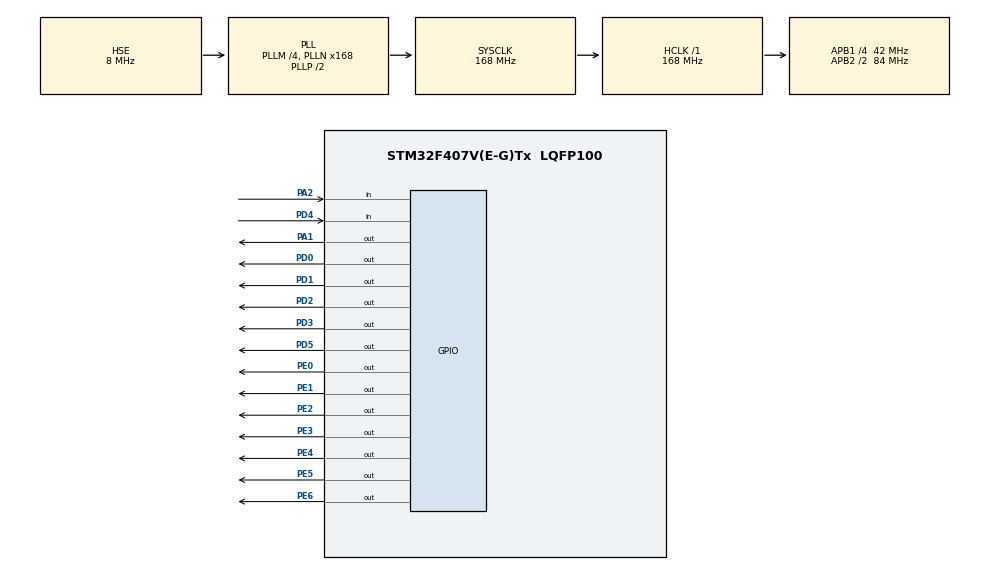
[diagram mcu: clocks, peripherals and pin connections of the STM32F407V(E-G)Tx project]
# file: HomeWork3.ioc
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Mcu.Family=STM32F4
Mcu.Name=STM32F407V(E-G)Tx
Mcu.Package=LQFP100
NVIC.PriorityGroup=NVIC_PRIORITYGROUP_0
PA1.GPIO_Speed=GPIO_SPEED_FREQ_VERY_HIGH
PA1.Signal=GPIO_Output
PA13.Mode=Serial_Wire
PA13.Signal=SYS_JTMS-SWDIO
PA14.Mode=Serial_Wire
PA14.Signal=SYS_JTCK-SWCLK
PA2.Signal=GPIO_Input
PD0.GPIO_Speed=GPIO_SPEED_FREQ_VERY_HIGH
PD0.Signal=GPIO_Output
PD1.GPIO_Speed=GPIO_SPEED_FREQ_VERY_HIGH
PD1.Signal=GPIO_Output
PD2.GPIO_Speed=GPIO_SPEED_FREQ_VERY_HIGH
PD2.Signal=GPIO_Output
PD3.GPIO_Speed=GPIO_SPEED_FREQ_VERY_HIGH
PD3.Signal=GPIO_Output
PD4.Signal=GPIO_Input
PD5.GPIO_Speed=GPIO_SPEED_FREQ_VERY_HIGH
PD5.Signal=GPIO_Output
PE0.Signal=GPIO_Output
PE1.Signal=GPIO_Output
PE2.Signal=GPIO_Output
PE3.Signal=GPIO_Output
PE4.Signal=GPIO_Output
PE5.Signal=GPIO_Output
PE6.Signal=GPIO_Output
PH0-OSC_IN.Mode=HSE-External-Oscillator
PH0-OSC_IN.Signal=RCC_OSC_IN
PH1-OSC_OUT.Mode=HSE-External-Oscillator
PH1-OSC_OUT.Signal=RCC_OSC_OUT
ProjectManager.HeapSize=0x200
ProjectManager.StackSize=0x400
ProjectManager.TargetToolchain=STM32CubeIDE
RCC.48MHZClocksFreq_Value=48000000
RCC.AHBFreq_Value=168000000
RCC.APB1CLKDivider=RCC_HCLK_DIV4
RCC.APB1Freq_Value=42000000
RCC.APB1TimFreq_Value=84000000
RCC.APB2CLKDivider=RCC_HCLK_DIV2
RCC.APB2Freq_Value=84000000
RCC.APB2TimFreq_Value=168000000
RCC.CortexFreq_Value=168000000
RCC.HCLKFreq_Value=168000000
RCC.HSE_VALUE=8000000
RCC.HSI_VALUE=16000000
RCC.LSE_VALUE=32768
RCC.PLLM=4
RCC.PLLN=168
RCC.PLLQ=7
RCC.PLLSourceVirtual=RCC_PLLSOURCE_HSE
RCC.SYSCLKFreq_VALUE=168000000
RCC.SYSCLKSource=RCC_SYSCLKSOURCE_PLLCLK
RCC.VCOOutputFreq_Value=336000000
board=STM32F407G-DISC1

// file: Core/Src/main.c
/* USER CODE BEGIN Header */
/**
  ******************************************************************************
  * @file           : main.c
  * @brief          : Main program body
  ******************************************************************************
  * @attention
  *
  * Copyright (c) 2022 STMicroelectronics.
  * All rights reserved.
  *
  * This software is licensed under terms that can be found in the LICENSE file
  * in the root directory of this software component.
  * If no LICENSE file comes with this software, it is provided AS-IS.
  *
  ******************************************************************************
  */
/* USER CODE END Header */
#include "main.h"

/* USER CODE BEGIN Includes */
#include "dwt_stm32_delay.h"
/* USER CODE END Includes */

/* USER CODE BEGIN PV */
uint8_t count = 0;
uint16_t distance;
uint8_t number = 0;
/* USER CODE END PV */

void SystemClock_Config(void);
static void MX_GPIO_Init(void);

/* USER CODE BEGIN 0 */

uint8_t segmentNumber[10] = {
        0x3f,  // 0
        0x06,  // 1
        0x5b,  // 2
        0x4f,  // 3
        0x66,  // 4
        0x6d,  // 5
        0x7d,  // 6
        0x07,  // 7
        0x7f,  // 8
        0x6f   // 9
};

void SevenSegment_Update(uint8_t number){
	HAL_GPIO_WritePin(GPIOE, GPIO_PIN_0, ((number>>0)&0x01));
	HAL_GPIO_WritePin(GPIOE, GPIO_PIN_1, ((number>>1)&0x01));
	HAL_GPIO_WritePin(GPIOE, GPIO_PIN_2, ((number>>2)&0x01));
	HAL_GPIO_WritePin(GPIOE, GPIO_PIN_3, ((number>>3)&0x01));
	HAL_GPIO_WritePin(GPIOE, GPIO_PIN_4, ((number>>4)&0x01));
	HAL_GPIO_WritePin(GPIOE, GPIO_PIN_5, ((number>>5)&0x01));
	HAL_GPIO_WritePin(GPIOE, GPIO_PIN_6, ((number>>6)&0x01));
}

uint32_t Measure_Distance(){
	uint32_t local_time = 0;
	uint16_t local_distance;

	HAL_GPIO_WritePin(GPIOA, GPIO_PIN_1, GPIO_PIN_SET);
	DWT_Delay_us(10);
	HAL_GPIO_WritePin(GPIOA, GPIO_PIN_1, GPIO_PIN_RESET);

	while(!HAL_GPIO_ReadPin(GPIOA, GPIO_PIN_2));

	while(HAL_GPIO_ReadPin(GPIOA, GPIO_PIN_2)){
		local_time++;
		DWT_Delay_us(1);
	}

	local_time *= 1.4;
	local_distance = local_time / 58;

	return local_distance;
}

/* USER CODE END 0 */

int main(void)
{

  /* MCU Configuration--------------------------------------------------------*/

  /* Reset of all peripherals, Initializes the Flash interface and the Systick. */
  HAL_Init();

  /* Configure the system clock */
  SystemClock_Config();

  /* Initialize all configured peripherals */
  MX_GPIO_Init();
  /* USER CODE BEGIN 2 */
  DWT_Delay_Init();
  /* USER CODE END 2 */

  /* Infinite loop */
  while (1)
    {

    /* USER CODE BEGIN 3 */
  	  if(HAL_GPIO_ReadPin(GPIOD, GPIO_PIN_4))
  	  {
  		  while(HAL_GPIO_ReadPin(GPIOD, GPIO_PIN_4)){
  			  HAL_Delay(100);
  		  }

  		  count++;
  	  }

  	  distance = Measure_Distance();

  	  if(count %2 == 0){
  		  HAL_GPIO_WritePin(GPIOD, GPIO_PIN_0 | GPIO_PIN_1 | GPIO_PIN_2 | GPIO_PIN_3 , 0);
  		  SevenSegment_Update(0);
  	  }

  	  else{
  		HAL_GPIO_WritePin(GPIOD, GPIO_PIN_3, 1);	// Activates Green LED

  		if(distance>3 && distance<=5){
  			HAL_GPIO_WritePin(GPIOD, GPIO_PIN_0 | GPIO_PIN_1 | GPIO_PIN_2, 1);
  			SevenSegment_Update(segmentNumber[distance]);

  		}

  		else if(distance>5 && distance<=7){
  			HAL_GPIO_WritePin(GPIOD, GPIO_PIN_1 | GPIO_PIN_2, 1);
  			HAL_GPIO_WritePin(GPIOD, GPIO_PIN_0, 0);
  			SevenSegment_Update(segmentNumber[distance]);
  		}

  		else if(distance>7 && distance<=9){
  			HAL_GPIO_WritePin(GPIOD, GPIO_PIN_2, 1);
  			HAL_GPIO_WritePin(GPIOD, GPIO_PIN_0 | GPIO_PIN_1, 0);
  			SevenSegment_Update(segmentNumber[distance]);
  	  }

  		else if(distance>9){
  		  	HAL_GPIO_WritePin(GPIOD, GPIO_PIN_0 | GPIO_PIN_1 | GPIO_PIN_2, 0);
  		    SevenSegment_Update(0);
  		    HAL_GPIO_WritePin(GPIOE, GPIO_PIN_6, 1);	// Draws "-" to display
  		}

  		else if(distance<=3){
  			SevenSegment_Update(segmentNumber[distance]);
  			HAL_GPIO_WritePin(GPIOD, GPIO_PIN_0 | GPIO_PIN_1 | GPIO_PIN_2, 0);
  			HAL_Delay(100);
  			HAL_GPIO_WritePin(GPIOD, GPIO_PIN_0 | GPIO_PIN_1 | GPIO_PIN_2, 1);
  		}
  	}

}

  /* USER CODE END 3 */
}

void SystemClock_Config(void)
{
  RCC_OscInitTypeDef RCC_OscInitStruct = {0};
  RCC_ClkInitTypeDef RCC_ClkInitStruct = {0};

  /** Configure the main internal regulator output voltage
  */
  __HAL_RCC_PWR_CLK_ENABLE();
  __HAL_PWR_VOLTAGESCALING_CONFIG(PWR_REGULATOR_VOLTAGE_SCALE1);

  /** Initializes the RCC Oscillators according to the specified parameters
  * in the RCC_OscInitTypeDef structure.
  */
  RCC_OscInitStruct.OscillatorType = RCC_OSCILLATORTYPE_HSE;
  RCC_OscInitStruct.HSEState = RCC_HSE_ON;
  RCC_OscInitStruct.PLL.PLLState = RCC_PLL_ON;
  RCC_OscInitStruct.PLL.PLLSource = RCC_PLLSOURCE_HSE;
  RCC_OscInitStruct.PLL.PLLM = 4;
  RCC_OscInitStruct.PLL.PLLN = 168;
  RCC_OscInitStruct.PLL.PLLP = RCC_PLLP_DIV2;
  RCC_OscInitStruct.PLL.PLLQ = 7;
  if (HAL_RCC_OscConfig(&RCC_OscInitStruct) != HAL_OK)
  {
    Error_Handler();
  }

  /** Initializes the CPU, AHB and APB buses clocks
  */
  RCC_ClkInitStruct.ClockType = RCC_CLOCKTYPE_HCLK|RCC_CLOCKTYPE_SYSCLK
                              |RCC_CLOCKTYPE_PCLK1|RCC_CLOCKTYPE_PCLK2;
  RCC_ClkInitStruct.SYSCLKSource = RCC_SYSCLKSOURCE_PLLCLK;
  RCC_ClkInitStruct.AHBCLKDivider = RCC_SYSCLK_DIV1;
  RCC_ClkInitStruct.APB1CLKDivider = RCC_HCLK_DIV4;
  RCC_ClkInitStruct.APB2CLKDivider = RCC_HCLK_DIV2;

  if (HAL_RCC_ClockConfig(&RCC_ClkInitStruct, FLASH_LATENCY_5) != HAL_OK)
  {
    Error_Handler();
  }
}

static void MX_GPIO_Init(void)
{
  GPIO_InitTypeDef GPIO_InitStruct = {0};

  /* GPIO Ports Clock Enable */
  __HAL_RCC_GPIOE_CLK_ENABLE();
  __HAL_RCC_GPIOH_CLK_ENABLE();
  __HAL_RCC_GPIOA_CLK_ENABLE();
  __HAL_RCC_GPIOD_CLK_ENABLE();

  /*Configure GPIO pin Output Level */
  HAL_GPIO_WritePin(GPIOE, GPIO_PIN_2|GPIO_PIN_3|GPIO_PIN_4|GPIO_PIN_5
                          |GPIO_PIN_6|GPIO_PIN_0|GPIO_PIN_1, GPIO_PIN_RESET);

  /*Configure GPIO pin Output Level */
  HAL_GPIO_WritePin(GPIOA, GPIO_PIN_1, GPIO_PIN_RESET);

  /*Configure GPIO pin Output Level */
  HAL_GPIO_WritePin(GPIOD, GPIO_PIN_0|GPIO_PIN_1|GPIO_PIN_2|GPIO_PIN_3
                          |GPIO_PIN_5, GPIO_PIN_RESET);

  /*Configure GPIO pins : PE2 PE3 PE4 PE5
                           PE6 PE0 PE1 */
  GPIO_InitStruct.Pin = GPIO_PIN_2|GPIO_PIN_3|GPIO_PIN_4|GPIO_PIN_5
                          |GPIO_PIN_6|GPIO_PIN_0|GPIO_PIN_1;
  GPIO_InitStruct.Mode = GPIO_MODE_OUTPUT_PP;
  GPIO_InitStruct.Pull = GPIO_NOPULL;
  GPIO_InitStruct.Speed = GPIO_SPEED_FREQ_LOW;
  HAL_GPIO_Init(GPIOE, &GPIO_InitStruct);

  /*Configure GPIO pin : PA1 */
  GPIO_InitStruct.Pin = GPIO_PIN_1;
  GPIO_InitStruct.Mode = GPIO_MODE_OUTPUT_PP;
  GPIO_InitStruct.Pull = GPIO_NOPULL;
  GPIO_InitStruct.Speed = GPIO_SPEED_FREQ_VERY_HIGH;
  HAL_GPIO_Init(GPIOA, &GPIO_InitStruct);

  /*Configure GPIO pin : PA2 */
  GPIO_InitStruct.Pin = GPIO_PIN_2;
  GPIO_InitStruct.Mode = GPIO_MODE_INPUT;
  GPIO_InitStruct.Pull = GPIO_NOPULL;
  HAL_GPIO_Init(GPIOA, &GPIO_InitStruct);

  /*Configure GPIO pins : PD0 PD1 PD2 PD3
                           PD5 */
  GPIO_InitStruct.Pin = GPIO_PIN_0|GPIO_PIN_1|GPIO_PIN_2|GPIO_PIN_3
                          |GPIO_PIN_5;
  GPIO_InitStruct.Mode = GPIO_MODE_OUTPUT_PP;
  GPIO_InitStruct.Pull = GPIO_NOPULL;
  GPIO_InitStruct.Speed = GPIO_SPEED_FREQ_VERY_HIGH;
  HAL_GPIO_Init(GPIOD, &GPIO_InitStruct);

  /*Configure GPIO pin : PD4 */
  GPIO_InitStruct.Pin = GPIO_PIN_4;
  GPIO_InitStruct.Mode = GPIO_MODE_INPUT;
  GPIO_InitStruct.Pull = GPIO_NOPULL;
  HAL_GPIO_Init(GPIOD, &GPIO_InitStruct);

}

void Error_Handler(void)
{
  __disable_irq();
  while (1)
  {
  }
}
